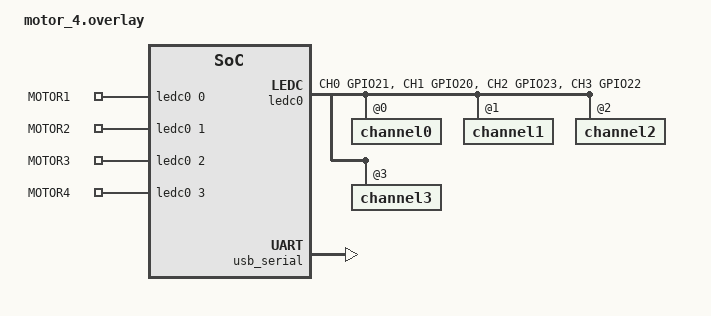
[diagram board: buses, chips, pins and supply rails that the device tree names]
/* RiskyBird ESP32-C6 target configuration. */
/*
 * SPDX-License-Identifier: Apache-2.0
 *
 * Overlay for 4 motor PWMs on ESP32C6 (custom PCB).
 * Routed PCB mapping:
 * MOTOR1=GPIO21, MOTOR2=GPIO20, MOTOR3=GPIO23, MOTOR4=GPIO22.
 * Motor start/stop: use console UART (same USB as the board).
 * 20 kHz PWM (same as working single-motor setup).
 */

#include <zephyr/dt-bindings/pwm/pwm.h>

/ {
	/*
	 * Console on the native USB Serial/JTAG unit, as motor_safe.overlay
	 * already does. The board default is uart0 (esp32c6_devkitc_hpcore.dts
	 * chooses it), which is not reachable over the same USB cable used to
	 * flash -- so "use console UART (same USB as the board)" above was not
	 * true for this image: the port stayed silent and keystrokes reached
	 * nothing. Measured 2026-09-16.
	 *
	 * This redirects input as well as output: UART_NODE in
	 * workloads/motor_4/src/main.c falls back to DT_CHOSEN(zephyr_console)
	 * when no motor_uart alias exists, and this overlay defines none.
	 */
	chosen {
		zephyr,console = &usb_serial;
		zephyr,shell-uart = &usb_serial;
	};

	aliases {
		pwm-0 = &ledc0;
		pwm-motor0 = &pwm_motor0;
		pwm-motor1 = &pwm_motor1;
		pwm-motor2 = &pwm_motor2;
		pwm-motor3 = &pwm_motor3;
	};

	pwmleds {
		compatible = "pwm-leds";

		pwm_motor0: pwm_motor_gpio21 {
			label = "MOTOR1";
			pwms = <&ledc0 0 20000 PWM_POLARITY_NORMAL>;
		};

		pwm_motor1: pwm_motor_gpio20 {
			label = "MOTOR2";
			pwms = <&ledc0 1 20000 PWM_POLARITY_NORMAL>;
		};

		pwm_motor2: pwm_motor_gpio23 {
			label = "MOTOR3";
			pwms = <&ledc0 2 20000 PWM_POLARITY_NORMAL>;
		};

		pwm_motor3: pwm_motor_gpio22 {
			label = "MOTOR4";
			pwms = <&ledc0 3 20000 PWM_POLARITY_NORMAL>;
		};
	};
};

&pinctrl {
	ledc0_default: ledc0_default {
		group1 {
			pinmux = <LEDC_CH0_GPIO21>,
				 <LEDC_CH1_GPIO20>,
				 <LEDC_CH2_GPIO23>,
				 <LEDC_CH3_GPIO22>;
			output-enable;
		};
	};

};

&ledc0 {
	pinctrl-0 = <&ledc0_default>;
	pinctrl-names = "default";
	status = "okay";
	#address-cells = <1>;
	#size-cells = <0>;

	channel0@0 {
		reg = <0x0>;
		timer = <0>;
	};

	channel1@1 {
		reg = <0x1>;
		timer = <0>;
	};

	channel2@2 {
		reg = <0x2>;
		timer = <0>;
	};

	channel3@3 {
		reg = <0x3>;
		timer = <0>;
	};
};

/* Carries the console and the keystrokes, over the same cable used to flash. */
&usb_serial {
	status = "okay";
};
